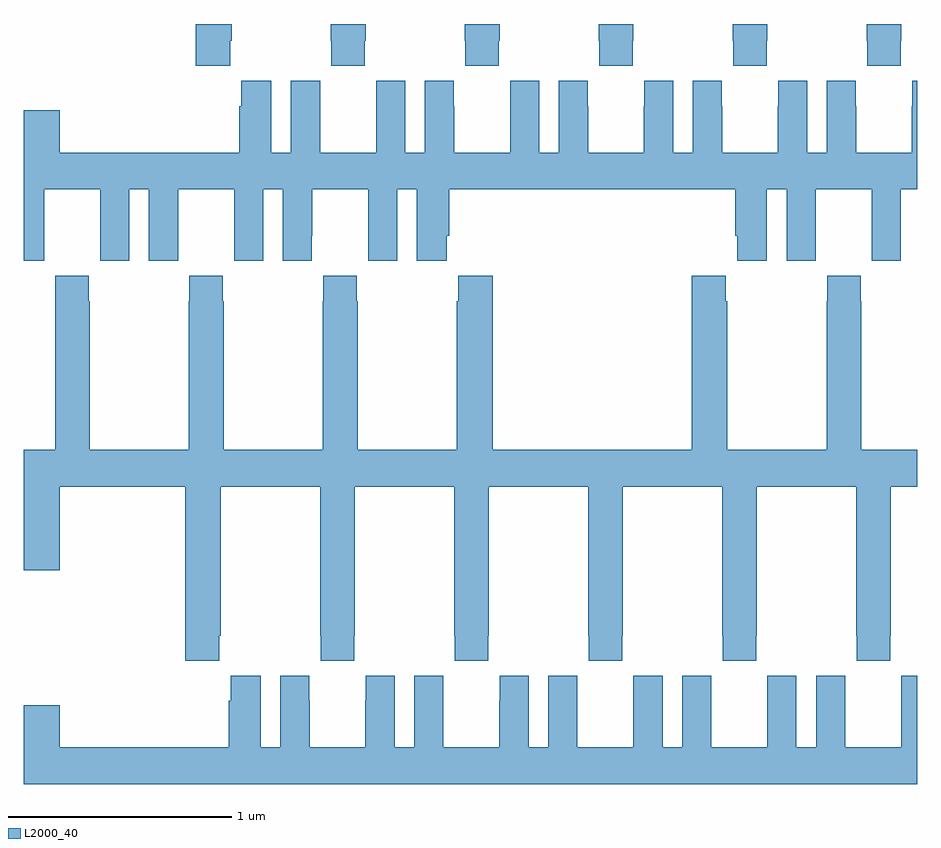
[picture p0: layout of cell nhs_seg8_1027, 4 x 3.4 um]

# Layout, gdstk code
import gdstk
lib = gdstk.Library(unit=1e-6, precision=1e-09)
def P(c, l, *ps):  # polygons
    for p in ps: c.add(gdstk.Polygon(p, *l))
L2000_40 = (2000, 40)

nhs_seg8_1027 = lib.new_cell('nhs_seg8_1027')
P(nhs_seg8_1027, L2000_40, [(180.927,1123.825),(180.93,1123.825),(180.93,1123.9),(180.775,1123.9),(180.775,1123.825),(180.777,1123.825),(180.777,1123.713),(180.927,1123.713)],
  [(180.327,1123.825),(180.33,1123.825),(180.33,1123.9),(180.175,1123.9),(180.175,1123.825),(180.177,1123.825),(180.177,1123.713),(180.327,1123.713)],
  [(179.727,1123.825),(179.73,1123.825),(179.73,1123.9),(179.575,1123.9),(179.575,1123.825),(179.577,1123.825),(179.577,1123.713),(179.727,1123.713)],
  [(179.127,1123.825),(179.13,1123.825),(179.13,1123.9),(178.975,1123.9),(178.975,1123.825),(178.977,1123.825),(178.977,1123.713),(179.127,1123.713)],
  [(178.527,1123.825),(178.53,1123.825),(178.53,1123.9),(178.375,1123.9),(178.375,1123.825),(178.377,1123.825),(178.377,1123.713),(178.527,1123.713)],
  [(177.923,1123.825),(177.93,1123.825),(177.93,1123.9),(177.77,1123.9),(177.77,1123.713),(177.923,1123.713)],
  [(180.185,1122.952),(180.194,1122.952),(180.194,1122.84),(180.328,1122.84),(180.328,1123.16),(180.416,1123.16),(180.416,1122.84),(180.546,1122.84),(180.546,1122.952),(180.547,1122.952),(180.547,1123.16),(180.797,1123.16),(180.797,1122.952),(180.798,1122.952),(180.798,1122.84),(180.928,1122.84),(180.928,1123.16),(181,1123.16),(181,1123.645),(180.978,1123.645),(180.978,1123.532),(180.977,1123.532),(180.977,1123.324),(180.727,1123.324),(180.727,1123.532),(180.726,1123.532),(180.726,1123.645),(180.596,1123.645),(180.596,1123.324),(180.508,1123.324),(180.508,1123.645),(180.378,1123.645),(180.378,1123.532),(180.377,1123.532),(180.377,1123.324),(180.127,1123.324),(180.127,1123.532),(180.126,1123.532),(180.126,1123.645),(179.996,1123.645),(179.996,1123.324),(179.908,1123.324),(179.908,1123.645),(179.778,1123.645),(179.778,1123.532),(179.777,1123.532),(179.777,1123.324),(179.527,1123.324),(179.527,1123.532),(179.526,1123.532),(179.526,1123.645),(179.396,1123.645),(179.396,1123.324),(179.308,1123.324),(179.308,1123.645),(179.178,1123.645),(179.178,1123.532),(179.177,1123.532),(179.177,1123.324),(178.927,1123.324),(178.927,1123.532),(178.926,1123.532),(178.926,1123.645),(178.796,1123.645),(178.796,1123.324),(178.708,1123.324),(178.708,1123.645),(178.578,1123.645),(178.578,1123.532),(178.577,1123.532),(178.577,1123.324),(178.327,1123.324),(178.327,1123.532),(178.326,1123.532),(178.326,1123.645),(178.196,1123.645),(178.196,1123.324),(178.108,1123.324),(178.108,1123.645),(177.974,1123.645),(177.974,1123.532),(177.965,1123.532),(177.965,1123.324),(177.16,1123.324),(177.16,1123.513),(177,1123.513),(177,1122.84),(177.09,1122.84),(177.09,1122.952),(177.091,1122.952),(177.091,1123.16),(177.341,1123.16),(177.341,1122.952),(177.342,1122.952),(177.342,1122.84),(177.472,1122.84),(177.472,1123.16),(177.56,1123.16),(177.56,1122.84),(177.69,1122.84),(177.69,1122.952),(177.691,1122.952),(177.691,1123.16),(177.941,1123.16),(177.941,1122.952),(177.942,1122.952),(177.942,1122.84),(178.072,1122.84),(178.072,1123.16),(178.16,1123.16),(178.16,1122.84),(178.29,1122.84),(178.29,1122.952),(178.291,1122.952),(178.291,1123.16),(178.541,1123.16),(178.541,1122.952),(178.542,1122.952),(178.542,1122.84),(178.672,1122.84),(178.672,1123.16),(178.76,1123.16),(178.76,1122.84),(178.894,1122.84),(178.894,1122.952),(178.904,1122.952),(178.904,1123.16),(180.185,1123.16)],
  [(177.875,1121.161),(177.882,1121.161),(177.882,1121.828),(178.327,1121.828),(178.327,1121.161),(178.329,1121.161),(178.329,1121.049),(178.479,1121.049),(178.479,1121.161),(178.482,1121.161),(178.482,1121.828),(178.927,1121.828),(178.927,1121.161),(178.929,1121.161),(178.929,1121.049),(179.079,1121.049),(179.079,1121.161),(179.082,1121.161),(179.082,1121.828),(179.527,1121.828),(179.527,1121.161),(179.529,1121.161),(179.529,1121.049),(179.679,1121.049),(179.679,1121.161),(179.682,1121.161),(179.682,1121.828),(180.127,1121.828),(180.127,1121.161),(180.129,1121.161),(180.129,1121.049),(180.279,1121.049),(180.279,1121.161),(180.282,1121.161),(180.282,1121.828),(180.727,1121.828),(180.727,1121.161),(180.729,1121.161),(180.729,1121.049),(180.879,1121.049),(180.879,1121.161),(180.882,1121.161),(180.882,1121.828),(181,1121.828),(181,1121.992),(180.75,1121.992),(180.75,1122.659),(180.747,1122.659),(180.747,1122.772),(180.597,1122.772),(180.597,1122.659),(180.595,1122.659),(180.595,1121.992),(180.15,1121.992),(180.15,1122.659),(180.143,1122.659),(180.143,1122.772),(179.99,1122.772),(179.99,1121.992),(179.099,1121.992),(179.099,1122.772),(178.945,1122.772),(178.945,1122.659),(178.939,1122.659),(178.939,1121.992),(178.494,1121.992),(178.494,1122.659),(178.491,1122.659),(178.491,1122.772),(178.341,1122.772),(178.341,1122.659),(178.339,1122.659),(178.339,1121.992),(177.894,1121.992),(177.894,1122.659),(177.891,1122.659),(177.891,1122.772),(177.741,1122.772),(177.741,1122.659),(177.739,1122.659),(177.739,1121.992),(177.294,1121.992),(177.294,1122.659),(177.291,1122.659),(177.291,1122.772),(177.141,1122.772),(177.141,1122.659),(177.139,1122.659),(177.139,1121.992),(177,1121.992),(177,1121.454),(177.16,1121.454),(177.16,1121.828),(177.722,1121.828),(177.722,1121.049),(177.875,1121.049)],
  [(181,1120.981),(180.93,1120.981),(180.93,1120.868),(180.929,1120.868),(180.929,1120.66),(180.679,1120.66),(180.679,1120.868),(180.678,1120.868),(180.678,1120.981),(180.548,1120.981),(180.548,1120.66),(180.46,1120.66),(180.46,1120.981),(180.33,1120.981),(180.33,1120.868),(180.329,1120.868),(180.329,1120.66),(180.079,1120.66),(180.079,1120.868),(180.078,1120.868),(180.078,1120.981),(179.948,1120.981),(179.948,1120.66),(179.86,1120.66),(179.86,1120.981),(179.73,1120.981),(179.73,1120.868),(179.729,1120.868),(179.729,1120.66),(179.479,1120.66),(179.479,1120.868),(179.478,1120.868),(179.478,1120.981),(179.348,1120.981),(179.348,1120.66),(179.26,1120.66),(179.26,1120.981),(179.13,1120.981),(179.13,1120.868),(179.129,1120.868),(179.129,1120.66),(178.879,1120.66),(178.879,1120.868),(178.878,1120.868),(178.878,1120.981),(178.748,1120.981),(178.748,1120.66),(178.66,1120.66),(178.66,1120.981),(178.53,1120.981),(178.53,1120.868),(178.529,1120.868),(178.529,1120.66),(178.279,1120.66),(178.279,1120.868),(178.278,1120.868),(178.278,1120.981),(178.148,1120.981),(178.148,1120.66),(178.06,1120.66),(178.06,1120.981),(177.926,1120.981),(177.926,1120.868),(177.917,1120.868),(177.917,1120.66),(177.16,1120.66),(177.16,1120.849),(177,1120.849),(177,1120.496),(181,1120.496)])

lib.write_gds('nhs_seg8_1027.gds')
